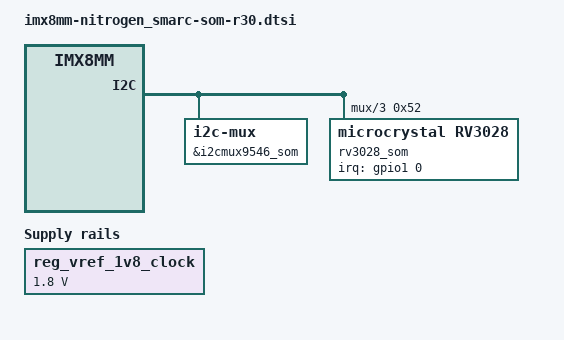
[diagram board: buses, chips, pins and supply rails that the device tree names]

// SPDX-License-Identifier: (GPL-2.0+ OR MIT)
/*
 * Copyright 2025 Ezurio LLC.
 */

/ {
	reg_vref_1v8_clock: regulator-vref-wifi {
		compatible = "regulator-fixed-clock";
		clocks = <&rv3028_som>;
		regulator-always-on;
		regulator-name = "vref-wifi-1v8-clock";
		regulator-min-microvolt = <1800000>;
		regulator-max-microvolt = <1800000>;
	};
};

&i2cmux9546_som {
	i2c1d: i2c1@3 {
		/* RTC_SOM */
		clock-frequency = <100000>;
		reg = <3>;
		#address-cells = <1>;
		#size-cells = <0>;

		rv3028_som: rtc_som@52 {
			pinctrl-names = "default";
			pinctrl-0 = <&pinctrl_rv3028_som>;
			backup-switchover-dsm;
			#clock-cells = <0>;
			compatible = "microcrystal,rv3028";
			reg = <0x52>;
			interrupts-extended = <&gpio1 0 IRQ_TYPE_LEVEL_LOW>;
			wakeup-source;
		};
	};
};

&iomuxc {
	pinctrl_rv3028_som: rv3028_somgrp {
		fsl,pins = <
			MX8MM_IOMUXC_GPIO1_IO00_GPIO1_IO0	0x140
		>;
	};

	pinctrl_reg_wlan_vmmc: reg-wlan-vmmcgrp {
		fsl,pins = <
			MX8MM_IOMUXC_SAI2_RXFS_GPIO4_IO21	0x100
		>;
	};
};

&usdhc3 {
	vqmmc-supply = <&reg_vref_1v8_clock>;
};
